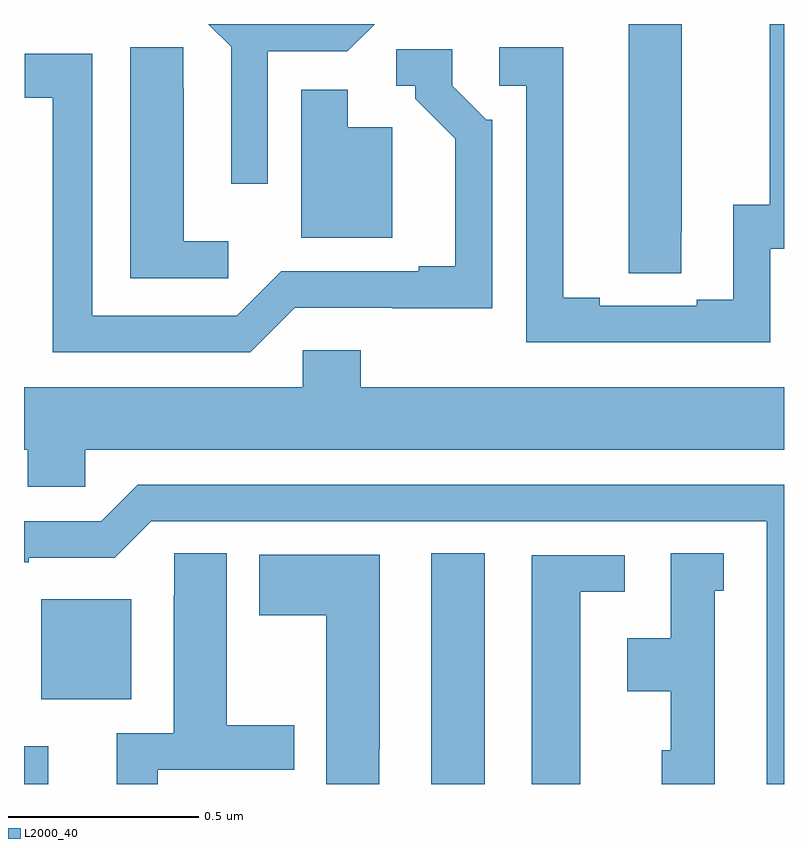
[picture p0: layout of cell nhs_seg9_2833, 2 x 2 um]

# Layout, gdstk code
import gdstk
lib = gdstk.Library(unit=1e-6, precision=1e-09)
def R(c, l, rs):  # rectangles x0, y0, x1, y1
    for r in rs: c.add(gdstk.rectangle(r[:2], r[2:], *l))
def P(c, l, *ps):  # polygons
    for p in ps: c.add(gdstk.Polygon(p, *l))
L2000_40 = (2000, 40)

nhs_seg9_2833 = lib.new_cell('nhs_seg9_2833')
R(nhs_seg9_2833, L2000_40, [(145,1235.5,145.064,1235.599), (146.072,1235.5,146.212,1236.107), (145.046,1235.723,145.282,1235.986)])
P(nhs_seg9_2833, L2000_40, [(146.73,1236.952),(146.731,1236.952),(146.731,1237.5),(146.591,1237.5),(146.591,1236.844),(146.73,1236.844)],
  [(145.641,1237.428),(145.851,1237.428),(145.923,1237.5),(145.485,1237.5),(145.545,1237.44),(145.545,1237.08),(145.641,1237.08)],
  [(146.964,1236.909),(147,1236.909),(147,1237.5),(146.962,1237.5),(146.962,1237.025),(146.867,1237.025),(146.867,1236.774),(146.771,1236.774),(146.771,1236.759),(146.515,1236.759),(146.515,1236.779),(146.419,1236.779),(146.419,1237.439),(146.25,1237.439),(146.25,1237.338),(146.322,1237.338),(146.322,1236.663),(146.964,1236.663)],
  [(145.537,1236.928),(145.42,1236.928),(145.42,1237.331),(145.419,1237.331),(145.419,1237.439),(145.28,1237.439),(145.28,1236.831),(145.537,1236.831)],
  [(145.713,1236.753),(145.969,1236.753),(145.969,1236.752),(146.232,1236.752),(146.232,1237.248),(146.217,1237.248),(146.127,1237.338),(146.127,1237.434),(145.98,1237.434),(145.98,1237.338),(146.03,1237.338),(146.03,1237.303),(146.135,1237.198),(146.135,1236.862),(146.039,1236.862),(146.039,1236.849),(145.677,1236.849),(145.56,1236.732),(145.18,1236.732),(145.18,1237.422),(145.002,1237.422),(145.002,1237.306),(145.076,1237.306),(145.076,1236.636),(145.596,1236.636)],
  [(145.969,1237.228),(145.852,1237.228),(145.852,1237.327),(145.73,1237.327),(145.73,1236.938),(145.969,1236.938)],
  [(145,1236.38),(145.01,1236.38),(145.01,1236.282),(145.161,1236.282),(145.161,1236.38),(147,1236.38),(147,1236.544),(145.886,1236.544),(145.886,1236.642),(145.734,1236.642),(145.734,1236.544),(145,1236.544)],
  [(147,1236.288),(145.299,1236.288),(145.203,1236.192),(145,1236.192),(145,1236.084),(145.012,1236.084),(145.012,1236.096),(145.239,1236.096),(145.335,1236.192),(146.954,1236.192),(146.954,1235.5),(147,1235.5)],
  [(145.352,1235.538),(145.711,1235.538),(145.711,1235.655),(145.534,1235.655),(145.534,1236.107),(145.395,1236.107),(145.395,1235.996),(145.394,1235.996),(145.394,1235.634),(145.244,1235.634),(145.244,1235.5),(145.352,1235.5)],
  [(146.818,1236.009),(146.842,1236.009),(146.842,1236.107),(146.702,1236.107),(146.702,1235.884),(146.588,1235.884),(146.588,1235.744),(146.702,1235.744),(146.702,1235.589),(146.678,1235.589),(146.678,1235.5),(146.818,1235.5)],
  [(145.935,1235.593),(145.936,1235.593),(145.936,1236.103),(145.619,1236.103),(145.619,1235.944),(145.796,1235.944),(145.796,1235.5),(145.935,1235.5)],
  [(146.464,1236.006),(146.581,1236.006),(146.581,1236.102),(146.336,1236.102),(146.336,1235.5),(146.464,1235.5)])

lib.write_gds('nhs_seg9_2833.gds')
